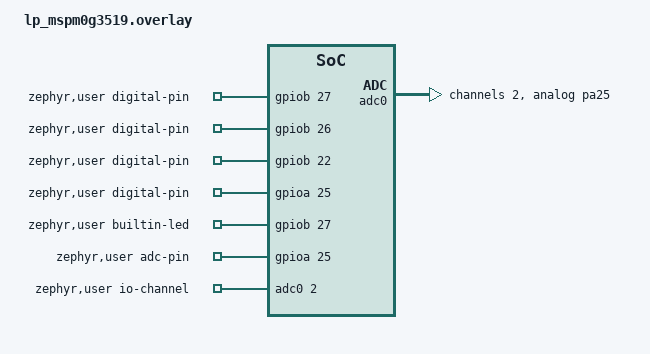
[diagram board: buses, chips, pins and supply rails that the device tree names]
/*
 * Arduino pin map for the LP-MSPM0G3519 (ArduinoCore-zephyr static module, Zephyr main).
 * D0 = PB27 green LED (LED_BUILTIN), D1 = PB26 red LED, D2 = PB22 blue LED, D3 = PA25 = A0.
 * A0 = PA25 = ADC0 channel 2 (header J1 pin 6). The ADC12 node is not enabled by the board file
 * (no board in Zephyr main uses it yet), so it is switched on here: ULPCLK 40 MHz, range 32 to 40 MHz,
 * divide by 8 (5 MHz ADC clock), 12 result registers, VDD reference.
 * UART0 on PA10/PA11 is the XDS110 backchannel (the board's console).
 */
#include <zephyr/dt-bindings/adc/adc.h>
#include <zephyr/dt-bindings/clock/mspm0_clock.h>

/ {
	zephyr,user {
		digital-pin-gpios = <&gpiob 27 0>,
				    <&gpiob 26 0>,
				    <&gpiob 22 0>,
				    <&gpioa 25 0>;	/* A0 */

		builtin-led-gpios = <&gpiob 27 0>;

		adc-pin-gpios = <&gpioa 25 0>;

		io-channels = <&adc0 2>;

		serials = <&uart0>;
	};
};

&adc0 {
	status = "okay";
	#address-cells = <1>;
	#size-cells = <0>;
	clocks = <&ckm MSPM0_CLOCK_ULPCLK>;
	ti,clk-range = <6>;
	ti,clk-divider = <8>;
	max-result-reg = <12>;
	pinctrl-0 = <&analog_pa25>;
	pinctrl-names = "default";

	channel@2 {
		reg = <2>;
		zephyr,gain = "ADC_GAIN_1";
		zephyr,reference = "ADC_REF_VDD_1";
		zephyr,acquisition-time = <ADC_ACQ_TIME(ADC_ACQ_TIME_TICKS, 32)>;
		zephyr,resolution = <12>;
	};
};
